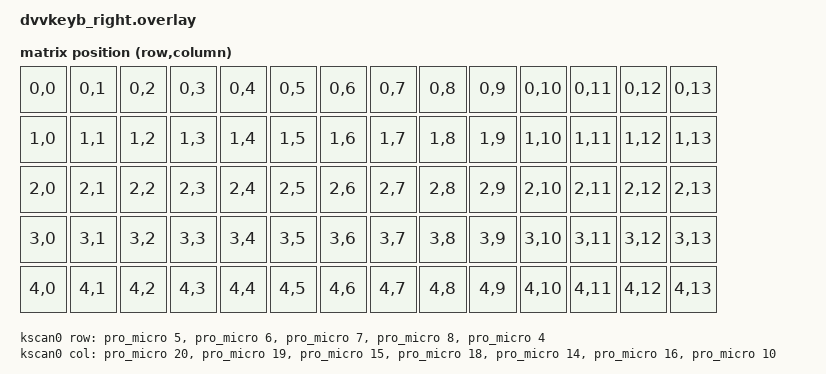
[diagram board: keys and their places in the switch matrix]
#include <dt-bindings/zmk/matrix_transform.h>
#include <physical_layouts.dtsi>

/ {
    chosen {
        zmk,kscan = &kscan0;
        zmk,physical-layout = &trans_right;
        zmk,matrix-transform = &trans_right;
    };
    trans_right: default_transform {
        compatible = "zmk,matrix-transform";
        columns = <14>;
        col-offset = <7>;
        rows = <5>;
        map = <
            RC(0,0) RC(0,1) RC(0,2) RC(0,3) RC(0,4) RC(0,5) RC(0,6) RC(0,7) RC(0,8) RC(0,9) RC(0,10) RC(0,11) RC(0,12) RC(0,13)
            RC(1,0) RC(1,1) RC(1,2) RC(1,3) RC(1,4) RC(1,5) RC(1,6) RC(1,7) RC(1,8) RC(1,9) RC(1,10) RC(1,11) RC(1,12) RC(1,13)
            RC(2,0) RC(2,1) RC(2,2) RC(2,3) RC(2,4) RC(2,5) RC(2,6) RC(2,7) RC(2,8) RC(2,9) RC(2,10) RC(2,11) RC(2,12) RC(2,13)
            RC(3,0) RC(3,1) RC(3,2) RC(3,3) RC(3,4) RC(3,5) RC(3,6) RC(3,7) RC(3,8) RC(3,9) RC(3,10) RC(3,11) RC(3,12) RC(3,13)
            RC(4,0) RC(4,1) RC(4,2) RC(4,3) RC(4,4) RC(4,5) RC(4,6) RC(4,7) RC(4,8) RC(4,9) RC(4,10) RC(4,11) RC(4,12) RC(4,13)
        >;
    };

    kscan0: kscan {
        compatible = "zmk,kscan-gpio-matrix";
        diode-direction = "col2row";
        wakeup-source;

        /* 5 рядов: D5–D9 => P0.24, P1.00, P0.11, P1.04, P1.06 */
        row-gpios = 
            <&pro_micro 5 (GPIO_ACTIVE_HIGH | GPIO_PULL_DOWN)>,  // D5 - Ряд 0: TILDE N1 N2 N3 N4 N5 6 | N6 N7 N8 N9 N0 PIPE U
            <&pro_micro 6 (GPIO_ACTIVE_HIGH | GPIO_PULL_DOWN)>,  // D6 - Ряд 1: TAB Q W E R T I | Y U I O P LBKT RBKT
            <&pro_micro 7 (GPIO_ACTIVE_HIGH | GPIO_PULL_DOWN)>,  // D7 - Ряд 2: LCTRL A S D F G L | H J K L SEMI SQT PLUS
            <&pro_micro 8 (GPIO_ACTIVE_HIGH | GPIO_PULL_DOWN)>,  // D8 - Ряд 3: LALT Z X C V B M | N M COMMA DOT FSLH MINUS RSHIFT
            <&pro_micro 4 (GPIO_ACTIVE_HIGH | GPIO_PULL_DOWN)>;  // D9 - Ряд 4: BSPC DEL mo2 trans trans trans LSHIFT | N1 N2 N3 N4 N5 RETURN SPACE

        /* 7 столбцов: D10, D16, D14, D15, D18, D19, D20 */
        col-gpios = 
            <&pro_micro 20 GPIO_ACTIVE_HIGH>,  // D20 - Столбец 0: TILDE TAB LCTRL LALT BSPC | N6 Y H N N1
            <&pro_micro 19 GPIO_ACTIVE_HIGH>,  // D19 - Столбец 1: N1 Q A Z DEL | N7 U J M N2
            <&pro_micro 15 GPIO_ACTIVE_HIGH>,  // D15 - Столбец 2: N2 W S X mo2 | N8 I K COMMA N3
            <&pro_micro 18 GPIO_ACTIVE_HIGH>,  // D18 - Столбец 3: N3 E D C trans | N9 O L DOT N4
            <&pro_micro 14 GPIO_ACTIVE_HIGH>,  // D14 - Столбец 4: N4 R F V trans | N0 P SEMI FSLH N5
            <&pro_micro 16 GPIO_ACTIVE_HIGH>,  // D16 - Столбец 5: N5 T G B trans | PIPE LBKT SQT MINUS RETURN
            <&pro_micro 10 GPIO_ACTIVE_HIGH>;  // D10 - Столбец 6: 6 I L M LSHIFT | U RBKT PLUS RSHIFT SPACE
    };

    zmk: zmk-config {
        compatible = "zmk,config";
        split-role = "right";  // или "right"
    };
};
